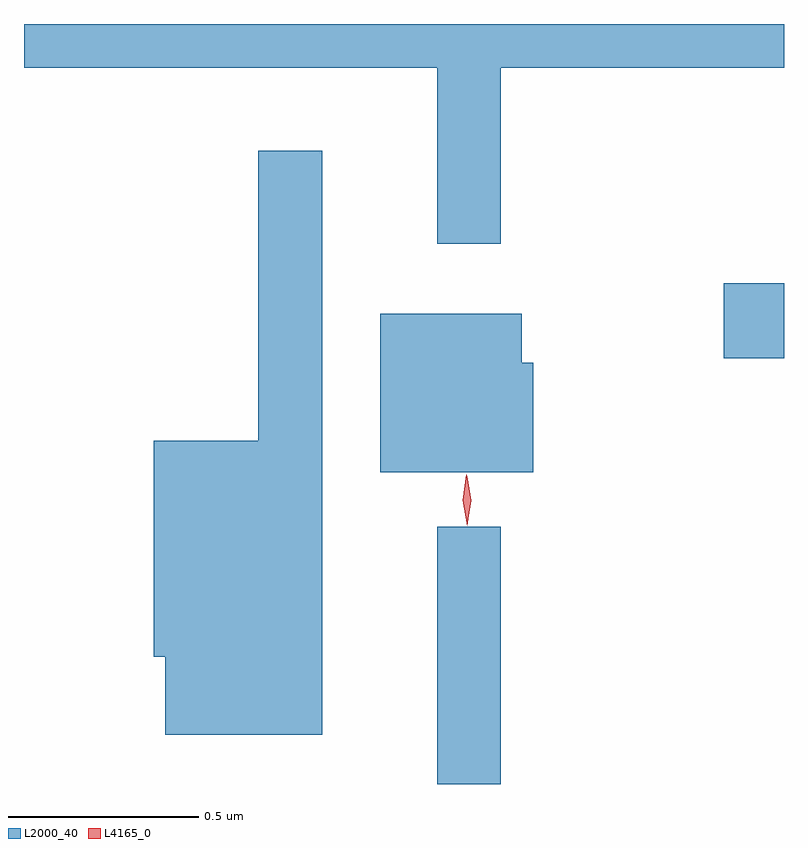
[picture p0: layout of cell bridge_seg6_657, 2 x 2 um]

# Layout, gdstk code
import gdstk
lib = gdstk.Library(unit=1e-6, precision=1e-09)
def R(c, l, rs):  # rectangles x0, y0, x1, y1
    for r in rs: c.add(gdstk.rectangle(r[:2], r[2:], *l))
def P(c, l, *ps):  # polygons
    for p in ps: c.add(gdstk.Polygon(p, *l))
L2000_40 = (2000, 40)
L4165_0 = (4165, 0)

bridge_seg6_657 = lib.new_cell('bridge_seg6_657')
R(bridge_seg6_657, L2000_40, [(251.161,1603.651,251.329,1604.328), (251.916,1604.771,252.074,1604.969)])
P(bridge_seg6_657, L2000_40, [(251.329,1605.536),(252.074,1605.536),(252.074,1605.651),(250.074,1605.651),(250.074,1605.536),(251.161,1605.536),(251.161,1605.073),(251.329,1605.073)],
  [(250.859,1605.318),(250.691,1605.318),(250.691,1604.554),(250.416,1604.554),(250.416,1603.986),(250.446,1603.986),(250.446,1603.781),(250.859,1603.781)],
  [(251.414,1604.759),(251.384,1604.759),(251.384,1604.889),(251.011,1604.889),(251.011,1604.471),(251.414,1604.471)])
P(bridge_seg6_657, L4165_0, [(251.24,1604.33),(251.24,1604.331),(251.229,1604.398),(251.238,1604.465),(251.238,1604.465),(251.239,1604.465),(251.249,1604.398),(251.241,1604.331)],
  [(251.241,1604.333),(251.24,1604.334),(251.231,1604.397),(251.24,1604.461),(251.241,1604.461),(251.241,1604.461),(251.251,1604.397),(251.241,1604.334)])

lib.write_gds('bridge_seg6_657.gds')
